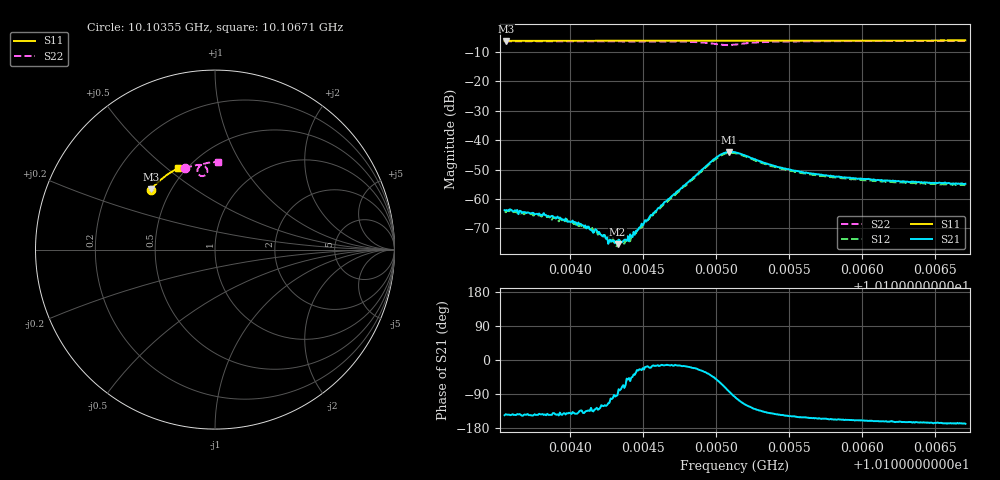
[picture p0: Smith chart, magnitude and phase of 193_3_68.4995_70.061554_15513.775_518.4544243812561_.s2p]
#  HZ  S  RI  R  50.00
! Rohde & Schwarz Vector Network Analyzer
! Rohde-Schwarz,ZNB20-2Port,1311601062101988,3.16
! Created: UTC 3/20/2024, 5:12:20 PM
! freq[Hz]  re:S11  im:S11  re:S21  im:S21  re:S12  im:S12  re:S22  im:S22
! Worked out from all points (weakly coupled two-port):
!   401 points, 10.10355 GHz to 10.10671 GHz, reference 50 ohm
!   highest |S21| = -43.95 dB at 10.10509 GHz (marker M1); lowest = -75.3 dB at 10.10432 GHz (marker M2)
!   lowest |S11| = -6.2 dB at 10.10356 GHz (marker M3), VSWR 2.92, Z = 19.5 + j17.1 ohm
!   |S11| at or under -10 dB: nowhere
!   |S22| runs from -7.6 to -6.2 dB; largest |S21 - S12| = 0.00066
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1.0103548e10  -0.3573 0.3347  -0.000533 -0.000365  -0.000467 -0.000405  -0.1666 0.4519
1.0103556e10  -0.357 0.335  -0.000514 -0.000385  -0.000461 -0.000377  -0.1662 0.4521
1.0103849e10  -0.3451 0.3482  -0.000416 -0.000294  -0.00039 -0.000345  -0.1473 0.4594
1.0103936e10  -0.3415 0.3522  -0.000373 -0.000271  -0.000325 -0.00032  -0.1416 0.4613
1.0103983e10  -0.3395 0.3544  -0.000319 -0.000259  -0.000293 -0.000287  -0.1383 0.4623
1.0104078e10  -0.3357 0.3585  -0.000249 -0.000264  -0.000235 -0.000263  -0.1318 0.4644
1.0104149e10  -0.3325 0.3616  -0.000203 -0.000207  -0.000206 -0.000246  -0.1267 0.4658
1.0104181e10  -0.331 0.3628  -0.000173 -0.000238  -0.000144 -0.000236  -0.1245 0.4665
1.0104276e10  -0.3269 0.367  -4.07e-05 -0.000199  -4.72e-05 -0.000184  -0.1173 0.4682
1.0104323e10  -0.3249 0.3691  -7.55e-06 -0.000171  1.13e-05 -0.000165  -0.1137 0.4691
1.0104371e10  -0.3227 0.371  5.75e-05 -0.000196  8.64e-05 -0.000151  -0.1098 0.4699
1.0104418e10  -0.3208 0.3729  0.00016 -0.000167  0.000187 -0.000127  -0.1061 0.4706
1.0104442e10  -0.3198 0.3739  0.000192 -0.000154  0.000224 -0.000138  -0.104 0.4709
1.0104608e10  -0.3122 0.3806  0.000681 -0.000194  0.000656 -0.000114  -0.0885 0.4722
1.0104987e10  -0.2944 0.3954  0.00333 -0.00349  0.00343 -0.00303  -0.0427 0.4349
1.0105043e10  -0.2919 0.3973  0.00246 -0.00533  0.00284 -0.0049  -0.0521 0.4163
1.010509e10  -0.2897 0.3991  0.000675 -0.00631  0.00125 -0.00599  -0.071 0.4094
1.010513e10  -0.2879 0.4005  -0.000885 -0.00619  -0.000289 -0.00601  -0.0861 0.4144
1.0105367e10  -0.2767 0.4096  -0.00296 -0.00248  -0.00262 -0.00262  -0.0873 0.4632
1.0105659e10  -0.2622 0.4199  -0.00242 -0.00121  -0.00219 -0.00137  -0.0598 0.4784
1.0106189e10  -0.2352 0.4372  -0.00197 -0.000612  -0.0018 -0.000768  -0.0197 0.4864
1.0106711e10  -0.2073 0.4522  -0.00177 -0.000369  -0.00165 -0.000517  0.0159 0.4886
